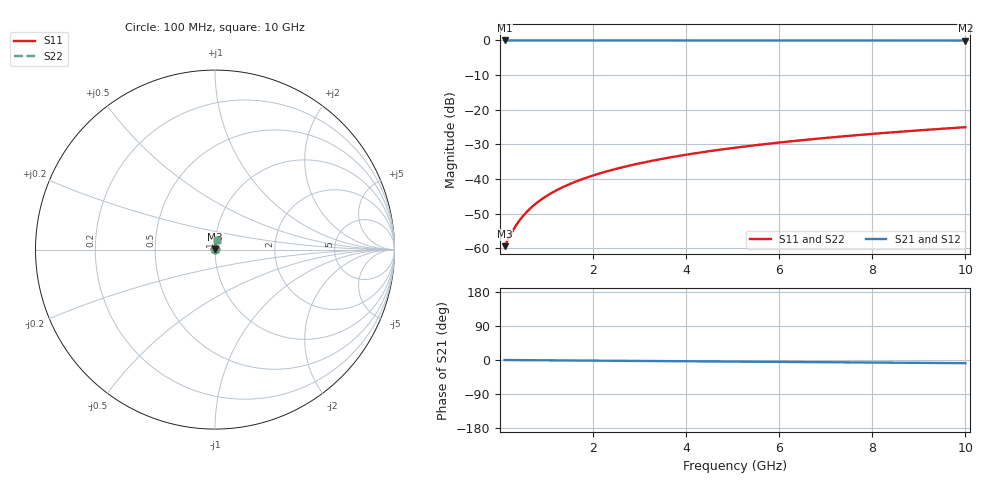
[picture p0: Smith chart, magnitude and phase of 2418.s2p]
# Hz S RI R 50.00
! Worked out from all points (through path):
!   100 points, 100 MHz to 10 GHz, reference 50 ohm
!   highest |S21| = -0.01 dB at 100 MHz (marker M1); lowest = 0.0 dB at 10 GHz (marker M2)
!   group delay of S21, straight-line fit = 2.32 ps
!   lowest |S11| = -59.4 dB at 100 MHz (marker M3), VSWR 1.00, Z = 50.1 + j0.056 ohm
!   |S11| at or under -10 dB: start of sweep to end of sweep
!   |S22| runs from -59.4 to -25.0 dB; largest |S21 - S12| = 0
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1e8  0.000917 0.000559  0.9991 -0.00145  0.9991 -0.00145  0.000917 0.000559
2e8  0.000925 0.00112  0.9991 -0.00291  0.9991 -0.00291  0.000925 0.00112
3e8  0.000933 0.00168  0.9991 -0.00436  0.9991 -0.00436  0.000933 0.00168
4e8  0.000942 0.00223  0.999 -0.00581  0.999 -0.00581  0.000942 0.00223
5e8  0.000952 0.00279  0.999 -0.00727  0.999 -0.00727  0.000952 0.00279
6e8  0.000963 0.00335  0.999 -0.00872  0.999 -0.00872  0.000963 0.00335
7e8  0.000976 0.00391  0.999 -0.0102  0.999 -0.0102  0.000976 0.00391
9e8  0.00101 0.00503  0.999 -0.0131  0.999 -0.0131  0.00101 0.00503
1e9  0.00102 0.00559  0.9989 -0.0145  0.9989 -0.0145  0.00102 0.00559
1.2e9  0.00106 0.0067  0.9989 -0.0174  0.9989 -0.0174  0.00106 0.0067
1.5e9  0.00113 0.00838  0.9988 -0.0218  0.9988 -0.0218  0.00113 0.00838
1.8e9  0.00122 0.0101  0.9986 -0.0262  0.9986 -0.0262  0.00122 0.0101
2.1e9  0.00131 0.0117  0.9985 -0.0305  0.9985 -0.0305  0.00131 0.0117
2.5e9  0.00147 0.014  0.9983 -0.0363  0.9983 -0.0363  0.00147 0.014
2.9e9  0.00165 0.0162  0.998 -0.0421  0.998 -0.0421  0.00165 0.0162
3.4e9  0.0019 0.019  0.9976 -0.0494  0.9976 -0.0494  0.0019 0.019
4.2e9  0.0024 0.0234  0.9969 -0.061  0.9969 -0.061  0.0024 0.0234
5.1e9  0.00309 0.0284  0.9958 -0.0741  0.9958 -0.0741  0.00309 0.0284
5.9e9  0.00381 0.0328  0.9947 -0.0857  0.9947 -0.0857  0.00381 0.0328
6.7e9  0.00463 0.0372  0.9935 -0.0973  0.9935 -0.0973  0.00463 0.0372
8.4e9  0.00673 0.0465  0.9904 -0.1219  0.9904 -0.1219  0.00673 0.0465
1e10  0.00912 0.0552  0.9867 -0.145  0.9867 -0.145  0.00912 0.0552
